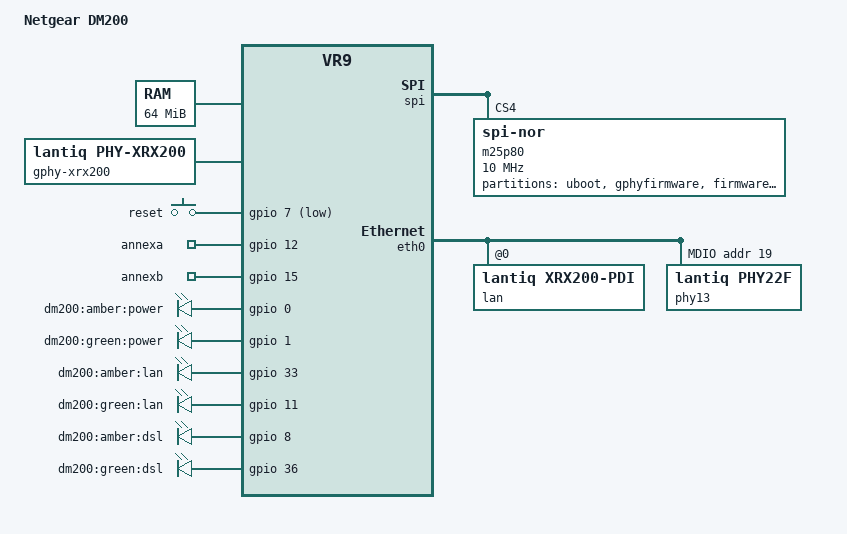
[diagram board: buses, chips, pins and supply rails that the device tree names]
/dts-v1/;

#include "vr9.dtsi"

#include <dt-bindings/input/input.h>

/ {
	compatible = "netgear,dm200", "lantiq,xway", "lantiq,vr9";
	model = "Netgear DM200";

	chosen {
		bootargs = "console=ttyLTQ0,115200";
	};

	aliases {
		led-boot = &power_green;
		led-failsafe = &power_amber;
		led-running = &power_green;

		led-dsl = &dsl_green;
	};

	memory@0 {
		reg = <0x0 0x4000000>;
	};

	fpi@10000000 {
		gpio: pinmux@E100B10 {
			pinctrl-names = "default";
			pinctrl-0 = <&state_default>;

			state_default: pinmux {
				mdio {
					lantiq,groups = "mdio";
					lantiq,function = "mdio";
				};
			};

			pins_spi_default: pins_spi_default {
				spi_in {
					lantiq,groups = "spi_di";
					lantiq,function = "spi";
				};
				spi_out {
					lantiq,groups = "spi_do", "spi_clk", "spi_cs4";
					lantiq,function = "spi";
					lantiq,output = <1>;
				};
			};
		};

		pcie@d900000 {
			status = "disabled";
		};
	};

	gphy-xrx200 {
		compatible = "lantiq,phy-xrx200";
		firmware = "lantiq/vr9_phy22f_a2x.bin";
		phys = [ 01 ];
	};

	gpio-keys-polled {
		compatible = "gpio-keys-polled";
		#address-cells = <1>;
		#size-cells = <0>;
		poll-interval = <100>;
		reset {
			label = "reset";
			gpios = <&gpio 7 GPIO_ACTIVE_LOW>;
			linux,code = <KEY_RESTART>;
		};
	};

	gpio_export {
		compatible = "gpio-export";
		#size-cells = <0>;

		annexa {
			gpio-export,name = "annexa";
			gpio-export,output = <0>;
			gpios = <&gpio 12 GPIO_ACTIVE_HIGH>;
		};
		annexb {
			gpio-export,name = "annexb";
			gpio-export,output = <0>;
			gpios = <&gpio 15 GPIO_ACTIVE_HIGH>;
		};
	};

	gpio-leds {
		compatible = "gpio-leds";

		power_amber: power_amber {
			label = "dm200:amber:power";
			gpios = <&gpio 0 GPIO_ACTIVE_HIGH>;
		};
		power_green: power_green {
			label = "dm200:green:power";
			gpios = <&gpio 1 GPIO_ACTIVE_HIGH>;
		};

		lan_amber {
			label = "dm200:amber:lan";
			gpios = <&gpio 33 GPIO_ACTIVE_HIGH>;
		};
		lan_green {
			label = "dm200:green:lan";
			gpios = <&gpio 11 GPIO_ACTIVE_HIGH>;
		};

		dsl_amber {
			label = "dm200:amber:dsl";
			gpios = <&gpio 8 GPIO_ACTIVE_HIGH>;
		};
		dsl_green: dsl_green {
			label = "dm200:green:dsl";
			gpios = <&gpio 36 GPIO_ACTIVE_HIGH>;
		};
	};
};

&spi {
	pinctrl-names = "default";
	pinctrl-0 = <&pins_spi_default>;

	status = "ok";

	m25p80@4 {
		#address-cells = <1>;
		#size-cells = <1>;
		compatible = "jedec,spi-nor";
		reg = <4 0>;
		spi-max-frequency = <10000000>;

		partitions {
			compatible = "fixed-partitions";
			#address-cells = <1>;
			#size-cells = <1>;

			partition@0 {
				reg = <0x0 0x20000>;
				label = "uboot";
				read-only;
			};

			partition@20000 {
				reg = <0x20000 0x10000>;
				label = "gphyfirmware";
				read-only;
			};

			partition@30000 {
				reg = <0x30000 0x7b0000>;
				label = "firmware";
			};

			partition@7e0000 {
				reg = <0x7e0000 0x10000>;
				label = "sysconfig";
				read-only;
			};

			partition@7f0000 {
				reg = <0x7f0000 0x2000>;
				label = "ubootconfig";
				read-only;
			};

			partition@7f2000 {
				reg = <0x7f2000 0x1000>;
				label = "ART";
				read-only;
			};

			partition@7f3000 {
				reg = <0x7f3000 0x1000>;
				label = "pot";
				read-only;
			};

			partition@7f4000 {
				reg = <0x7f4000 0xc000>;
				label = "ret";
				read-only;
			};
		};
	};
};

&eth0 {
	lan: interface@0 {
		compatible = "lantiq,xrx200-pdi";
		#address-cells = <1>;
		#size-cells = <0>;
		reg = <0>;

		ethernet@4 {
			compatible = "lantiq,xrx200-pdi-port";
			reg = <4>;
			phy-mode = "mii";
			phy-handle = <&phy13>;
		};
	};

	mdio@0 {
		#address-cells = <1>;
		#size-cells = <0>;
		compatible = "lantiq,xrx200-mdio";
		phy13: ethernet-phy@13 {
			reg = <0x13>;
			compatible = "lantiq,phy22f", "ethernet-phy-ieee802.3-c22";
		};
	};
};
